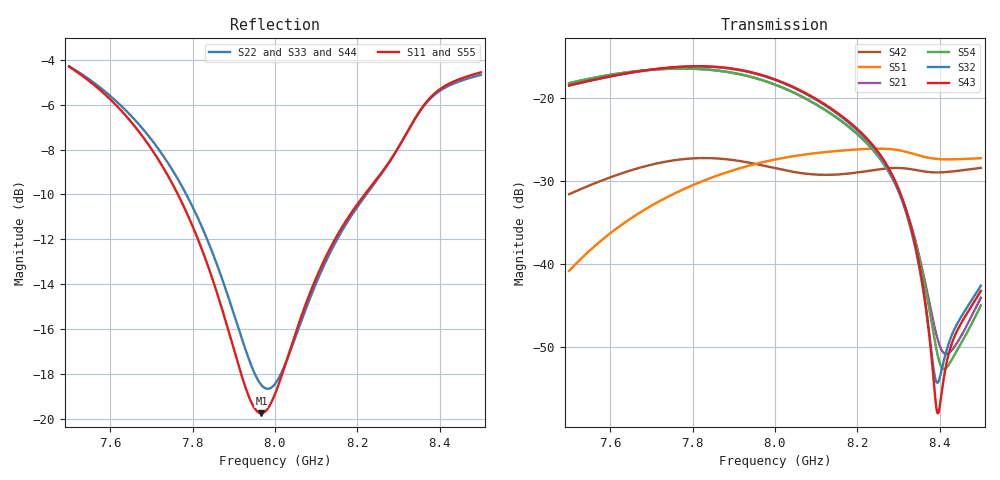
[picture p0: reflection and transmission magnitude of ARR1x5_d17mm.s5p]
! Touchstone file exported from HFSS 2025.1.0
!  File:  C:/Users/user/Documents/Ansoft/TFG_UWB-MIMO-Array.aedt
!  Generated:  02:04:20 PM Nov 20, 2026
!  Design:  ARR1x5_US3_PS6_dparam
!  Project:  TFG_UWB-MIMO-Array
!  Setup:  Setup_ch9
!  Solution:  Sweep_7p5_8p5
! Variables:
!  arr_d = 17mm
!  board_m = 13mm
!  board_x = 94mm
!  board_y = 26mm
!  cu_t = 0.035mm
!  line_w = 3.92mm
!  pad_xy = 22mm
!  pad_zn = 25mm
!  pad_zp = 33mm
!  par_L = 7.05mm
!  par_W = 11mm
!  par_yc = 0.615mm
!  par_z = 1.035mm
!  patch_L = 6.29mm
!  patch_W = 11.421266mm
!  sub_h = 2.07mm
!  tr_l = 6.6mm
!  tr_w = 0.8mm
!  u_Lu = 2.65mm
!  u_Wu = 4.4mm
!  u_t = 0.8mm
!  u_y0 = -0.7mm
# GHz S MA R 50.000000
! Terminal data exported
! Port[1] = P1
! Port[2] = P2
! Port[3] = P3
! Port[4] = P4
! Port[5] = P5
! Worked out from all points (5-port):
!   1001 points, 7.5 GHz to 8.5 GHz, reference 50 ohm
!   strongest paths, dB at 7.5 GHz, 7.75 GHz, 8 GHz, 8.25 GHz, 8.5 GHz:
!     S43: -18.5, -16.3, -17.8, -26.5, -43.2
!     S32: -18.5, -16.4, -17.9, -26.7, -42.6
!     S54: -18.3, -16.5, -18.4, -27.0, -45.0
!     S21: -18.3, -16.5, -18.4, -27.0, -44.1
!     S51: -40.8, -31.7, -27.4, -26.1, -27.3
!     S42: -31.6, -27.6, -28.5, -28.6, -28.4
!   lowest |S11| = -19.7 dB at 7.967 GHz (marker M1), VSWR 1.23, Z = 61.1 - j2.79 ohm
!   |S11| at or under -10 dB: 7.764 GHz to 8.218 GHz (453.6 MHz wide, 5.68 % of centre)
